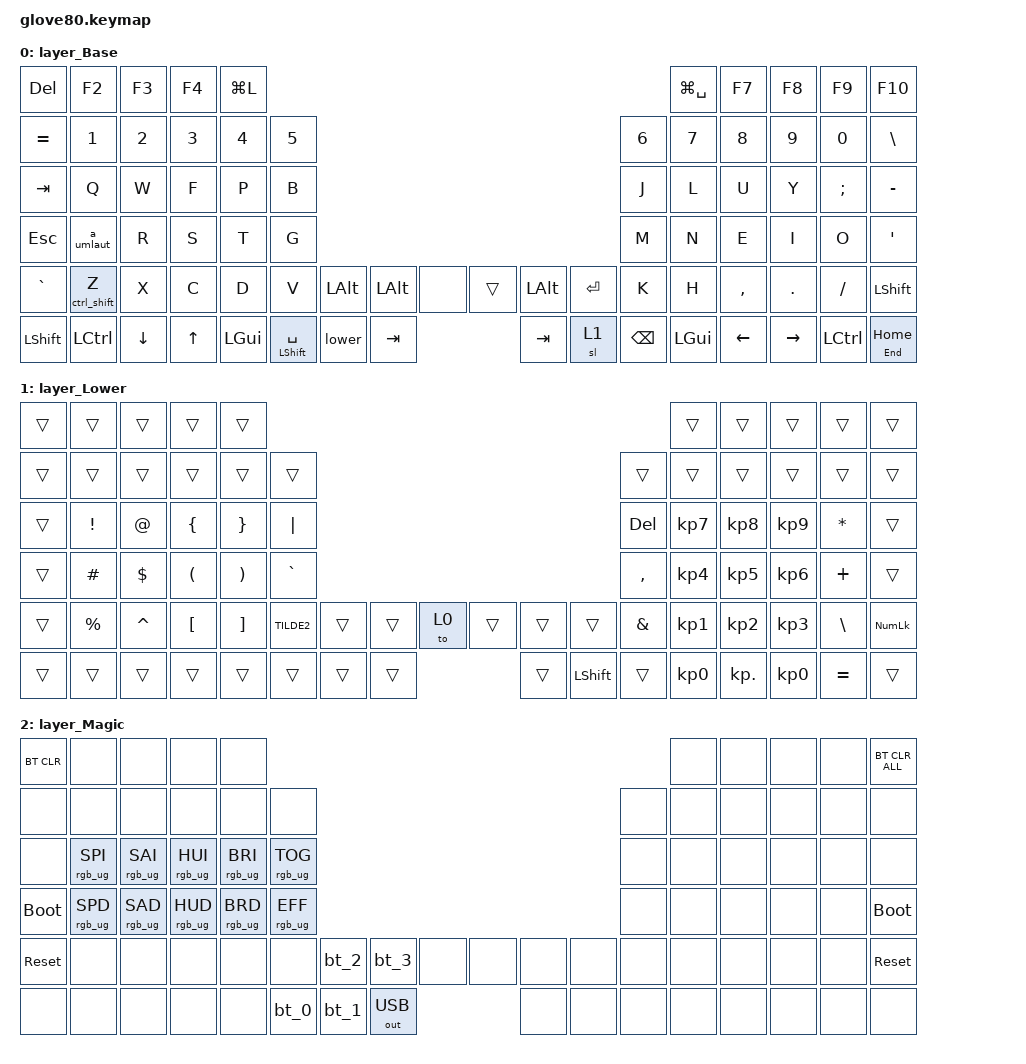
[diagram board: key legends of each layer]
/*
 * Copyright (c) 2020 The ZMK Contributors
 * Copyright (c) 2023 Innaworks Development Limited, trading as MoErgo
 *
 * SPDX-License-Identifier: MIT
 */


/* THIS FILE WAS GENERATED BY GLOVE80 LAYOUT EDITOR
 *
 * This file was generated automatically. You may or may not want to
 * edit it directly.
 */

#include <behaviors.dtsi>
/* Include all behavior includes needed */
#include <dt-bindings/zmk/outputs.h>
#include <dt-bindings/zmk/keys.h>
#include <dt-bindings/zmk/bt.h>
#include <dt-bindings/zmk/rgb.h>

/* Unicode / German-Umlaut support */
#include "zmk-helpers/helper.h"
#include "zmk-helpers/unicode-chars/german.dtsi"

/* Automatically generated layer name #define */
#define LAYER_Base 0
#define LAYER_Lower 1
#define LAYER_Magic 2

/* To deal with the situation where there is no Lower layer, to keep &lower happy */
#ifndef LAYER_Lower
#define LAYER_Lower 0
#endif

/* Custom Device-tree */



/* Glove80 system behavior & macros */
/ {
    behaviors {
        // For the "layer" key, it'd nice to be able to use it as either a shift or a toggle.
        // Configure it as a tap dance, so the first tap (or hold) is a &mo and the second tap is a &to
        lower: lower {
            compatible = "zmk,behavior-tap-dance";
            label = "LAYER_TAP_DANCE";
            #binding-cells = <0>;
            tapping-term-ms = <200>;
            bindings = <&mo LAYER_Lower>, <&to LAYER_Lower>;
        };
    };
};

/ {
    macros {
        rgb_ug_status_macro: rgb_ug_status_macro {
            label = "RGB_UG_STATUS";
            compatible = "zmk,behavior-macro";
            #binding-cells = <0>;
            bindings
                = <&rgb_ug RGB_STATUS>;
        };
        ctrl_shift: ctrl_shift {
            label = "CTRL_SHIFT";
            compatible = "zmk,behavior-macro";
            #binding-cells = <0>;
            bindings = <&macro_press &kp LCTRL &kp LSHFT>,
                      <&macro_pause_for_release>,
                      <&macro_release &kp LCTRL &kp LSHFT>;
        };
    };
};


/ {
#ifdef BT_DISC_CMD
    behaviors {
        bt_0: bt_0 {
            compatible = "zmk,behavior-tap-dance";
            label = "BT_0";
            #binding-cells = <0>;
            tapping-term-ms = <200>;
            bindings = <&bt_select_0>, <&bt BT_DISC 0>;
        };
        bt_1: bt_1 {
            compatible = "zmk,behavior-tap-dance";
            label = "BT_1";
            #binding-cells = <0>;
            tapping-term-ms = <200>;
            bindings = <&bt_select_1>, <&bt BT_DISC 1>;
        };
        bt_2: bt_2 {
            compatible = "zmk,behavior-tap-dance";
            label = "BT_2";
            #binding-cells = <0>;
            tapping-term-ms = <200>;
            bindings = <&bt_select_2>, <&bt BT_DISC 2>;
        };
        bt_3: bt_3 {
            compatible = "zmk,behavior-tap-dance";
            label = "BT_3";
            #binding-cells = <0>;
            tapping-term-ms = <200>;
            bindings = <&bt_select_3>, <&bt BT_DISC 3>;
        };
    };
    macros {
        bt_select_0: bt_select_0 {
            label = "BT_SELECT_0";
            compatible = "zmk,behavior-macro";
            #binding-cells = <0>;
            bindings
                = <&out OUT_BLE>,
                  <&bt BT_SEL 0>;
        };
        bt_select_1: bt_select_1 {
            label = "BT_SELECT_1";
            compatible = "zmk,behavior-macro";
            #binding-cells = <0>;
            bindings
                = <&out OUT_BLE>,
                  <&bt BT_SEL 1>;
        };
        bt_select_2: bt_select_2 {
            label = "BT_SELECT_2";
            compatible = "zmk,behavior-macro";
            #binding-cells = <0>;
            bindings
                = <&out OUT_BLE>,
                  <&bt BT_SEL 2>;
        };
        bt_select_3: bt_select_3 {
            label = "BT_SELECT_3";
            compatible = "zmk,behavior-macro";
            #binding-cells = <0>;
            bindings
                = <&out OUT_BLE>,
                  <&bt BT_SEL 3>;
        };
    };
#else
    macros {
        bt_0: bt_0 {
            label = "BT_0";
            compatible = "zmk,behavior-macro";
            #binding-cells = <0>;
            bindings
                = <&out OUT_BLE>,
                  <&bt BT_SEL 0>;
        };
        bt_1: bt_1 {
            label = "BT_1";
            compatible = "zmk,behavior-macro";
            #binding-cells = <0>;
            bindings
                = <&out OUT_BLE>,
                  <&bt BT_SEL 1>;
        };
        bt_2: bt_2 {
            label = "BT_2";
            compatible = "zmk,behavior-macro";
            #binding-cells = <0>;
            bindings
                = <&out OUT_BLE>,
                  <&bt BT_SEL 2>;
        };
        bt_3: bt_3 {
            label = "BT_3";
            compatible = "zmk,behavior-macro";
            #binding-cells = <0>;
            bindings
                = <&out OUT_BLE>,
                  <&bt BT_SEL 3>;
        };
    };
#endif
};

/ {
    behaviors {
        magic: magic {
            compatible = "zmk,behavior-hold-tap";
            label = "MAGIC_HOLD_TAP";
            #binding-cells = <2>;
            flavor = "tap-preferred";
            tapping-term-ms = <200>;
            bindings = <&mo>, <&rgb_ug_status_macro>;
        };

        magic_space: magic_space {
            compatible = "zmk,behavior-hold-tap";
            label = "MAGIC_SPACE";
            bindings = <&kp>, <&kp>;

            #binding-cells = <2>;
            tapping-term-ms = <135>;
            require-prior-idle-ms = <150>;
            flavor = "tap-preferred";
        };

        ctrl_shift_key: ctrl_shift_key {
            compatible = "zmk,behavior-hold-tap";
            label = "CTRL_SHIFT_KEY";
            #binding-cells = <2>;
            tapping-term-ms = <200>;
            flavor = "tap-preferred";
            bindings = <&ctrl_shift>, <&kp>;
        };

        a_umlaut: a_umlaut {
            compatible = "zmk,behavior-mod-morph";
            label = "A_UMLAUT";
            #binding-cells = <0>;
            bindings = <&kp A>, <&de_ae>;
            mods = <(MOD_LALT)>;
        };
    };
};

/* #define for key positions */
#define POS_LH_T1 52
#define POS_LH_T2 53
#define POS_LH_T3 54
#define POS_LH_T4 69
#define POS_LH_T5 70
#define POS_LH_T6 71
#define POS_LH_C1R2 15
#define POS_LH_C1R3 27
#define POS_LH_C1R4 39
#define POS_LH_C1R5 51
#define POS_LH_C2R1 4
#define POS_LH_C2R2 14
#define POS_LH_C2R3 26
#define POS_LH_C2R4 38
#define POS_LH_C2R5 50
#define POS_LH_C2R6 68
#define POS_LH_C3R1 3
#define POS_LH_C3R2 13
#define POS_LH_C3R3 25
#define POS_LH_C3R4 37
#define POS_LH_C3R5 49
#define POS_LH_C3R6 67
#define POS_LH_C4R1 2
#define POS_LH_C4R2 12
#define POS_LH_C4R3 24
#define POS_LH_C4R4 36
#define POS_LH_C4R5 48
#define POS_LH_C4R6 66
#define POS_LH_C5R1 1
#define POS_LH_C5R2 11
#define POS_LH_C5R3 23
#define POS_LH_C5R4 35
#define POS_LH_C5R5 47
#define POS_LH_C5R6 65
#define POS_LH_C6R1 0
#define POS_LH_C6R2 10
#define POS_LH_C6R3 22
#define POS_LH_C6R4 34
#define POS_LH_C6R5 46
#define POS_LH_C6R6 64
#define POS_RH_T1 57
#define POS_RH_T2 56
#define POS_RH_T3 55
#define POS_RH_T4 74
#define POS_RH_T5 73
#define POS_RH_T6 72
#define POS_RH_C1R2 16
#define POS_RH_C1R3 28
#define POS_RH_C1R4 40
#define POS_RH_C1R5 58
#define POS_RH_C2R1 5
#define POS_RH_C2R2 17
#define POS_RH_C2R3 29
#define POS_RH_C2R4 41
#define POS_RH_C2R5 59
#define POS_RH_C2R6 75
#define POS_RH_C3R1 6
#define POS_RH_C3R2 18
#define POS_RH_C3R3 30
#define POS_RH_C3R4 42
#define POS_RH_C3R5 60
#define POS_RH_C3R6 76
#define POS_RH_C4R1 7
#define POS_RH_C4R2 19
#define POS_RH_C4R3 31
#define POS_RH_C4R4 43
#define POS_RH_C4R5 61
#define POS_RH_C4R6 77
#define POS_RH_C5R1 8
#define POS_RH_C5R2 20
#define POS_RH_C5R3 32
#define POS_RH_C5R4 44
#define POS_RH_C5R5 62
#define POS_RH_C5R6 78
#define POS_RH_C6R1 9
#define POS_RH_C6R2 21
#define POS_RH_C6R3 33
#define POS_RH_C6R4 45
#define POS_RH_C6R5 63
#define POS_RH_C6R6 79

/* Custom Defined Behaviors */
/ {

};

/* Automatically generated macro definitions */
/ {
    macros {

    };
};

/* Automatically generated behavior definitions */
/ {
    behaviors {

    };
};

/* Automatically generated combos definitions */


/* Automatically generated keymap */
/ {
    keymap {
        compatible = "zmk,keymap";


        layer_Base {
            bindings = <
   &kp DEL     &kp F2    &kp F3  &kp F4  &kp LG(L)                                                                                   &kp LG(SPACE)     &kp F7     &kp F8     &kp F9       &kp F10
 &kp EQUAL     &kp N1    &kp N2  &kp N3     &kp N4  &kp N5                                                                   &kp N6         &kp N7     &kp N8     &kp N9     &kp N0      &kp BSLH
   &kp TAB      &kp Q     &kp W   &kp F      &kp P   &kp B                                                                    &kp J          &kp L      &kp U      &kp Y   &kp SEMI     &kp MINUS
   &kp ESC      &a_umlaut     &kp R   &kp S      &kp T   &kp G                                                                    &kp M          &kp N      &kp E      &kp I      &kp O       &kp SQT
 &kp GRAVE      &ctrl_shift_key 0 Z     &kp X   &kp C      &kp D   &kp V         &kp LALT  &kp LALT    &none   &trans  &kp LALT   &kp RET   &kp K          &kp H  &kp COMMA    &kp DOT   &kp FSLH     &kp LSHFT
 &kp LSHFT  &kp LCTRL  &kp DOWN  &kp UP   &kp LGUI          &magic_space LSHFT SPACE    &lower  &kp TAB  &kp TAB     &sl 1  &kp BSPC               &kp LGUI   &kp LEFT  &kp RIGHT  &kp LCTRL  &mt END HOME
            >;
        };

        layer_Lower {
            bindings = <
 &trans     &trans     &trans    &trans    &trans                                                                               &trans      &trans     &trans     &trans  &trans
 &trans     &trans     &trans    &trans    &trans      &trans                                                        &trans     &trans      &trans     &trans     &trans  &trans
 &trans   &kp EXCL     &kp AT  &kp LBRC  &kp RBRC    &kp PIPE                                                       &kp DEL  &kp KP_N7   &kp KP_N8  &kp KP_N9   &kp STAR  &trans
 &trans   &kp HASH   &kp DLLR  &kp LPAR  &kp RPAR   &kp GRAVE                                                     &kp COMMA  &kp KP_N4   &kp KP_N5  &kp KP_N6   &kp PLUS  &trans
 &trans  &kp PRCNT  &kp CARET  &kp LBKT  &kp RBKT  &kp TILDE2  &trans  &trans   &to 0  &trans     &trans  &trans   &kp AMPS  &kp KP_N1   &kp KP_N2  &kp KP_N3   &kp BSLH  &kp KP_NUM
 &trans     &trans     &trans    &trans    &trans              &trans  &trans  &trans  &trans  &kp LSHFT  &trans             &kp KP_N0  &kp KP_DOT  &kp KP_N0  &kp EQUAL  &trans
            >;
        };

        layer_Magic {
            bindings = <
  &bt BT_CLR            &none            &none            &none            &none                                                                                  &none   &none   &none   &none  &bt BT_CLR_ALL
       &none            &none            &none            &none            &none            &none                                                         &none   &none   &none   &none   &none           &none
       &none  &rgb_ug RGB_SPI  &rgb_ug RGB_SAI  &rgb_ug RGB_HUI  &rgb_ug RGB_BRI  &rgb_ug RGB_TOG                                                         &none   &none   &none   &none   &none           &none
 &bootloader  &rgb_ug RGB_SPD  &rgb_ug RGB_SAD  &rgb_ug RGB_HUD  &rgb_ug RGB_BRD  &rgb_ug RGB_EFF                                                         &none   &none   &none   &none   &none     &bootloader
  &sys_reset            &none            &none            &none            &none            &none   &bt_2   &bt_3         &none   &none   &none   &none   &none   &none   &none   &none   &none      &sys_reset
       &none            &none            &none            &none            &none                    &bt_0   &bt_1  &out OUT_USB   &none   &none   &none           &none   &none   &none   &none           &none
            >;
        };

    };
};
